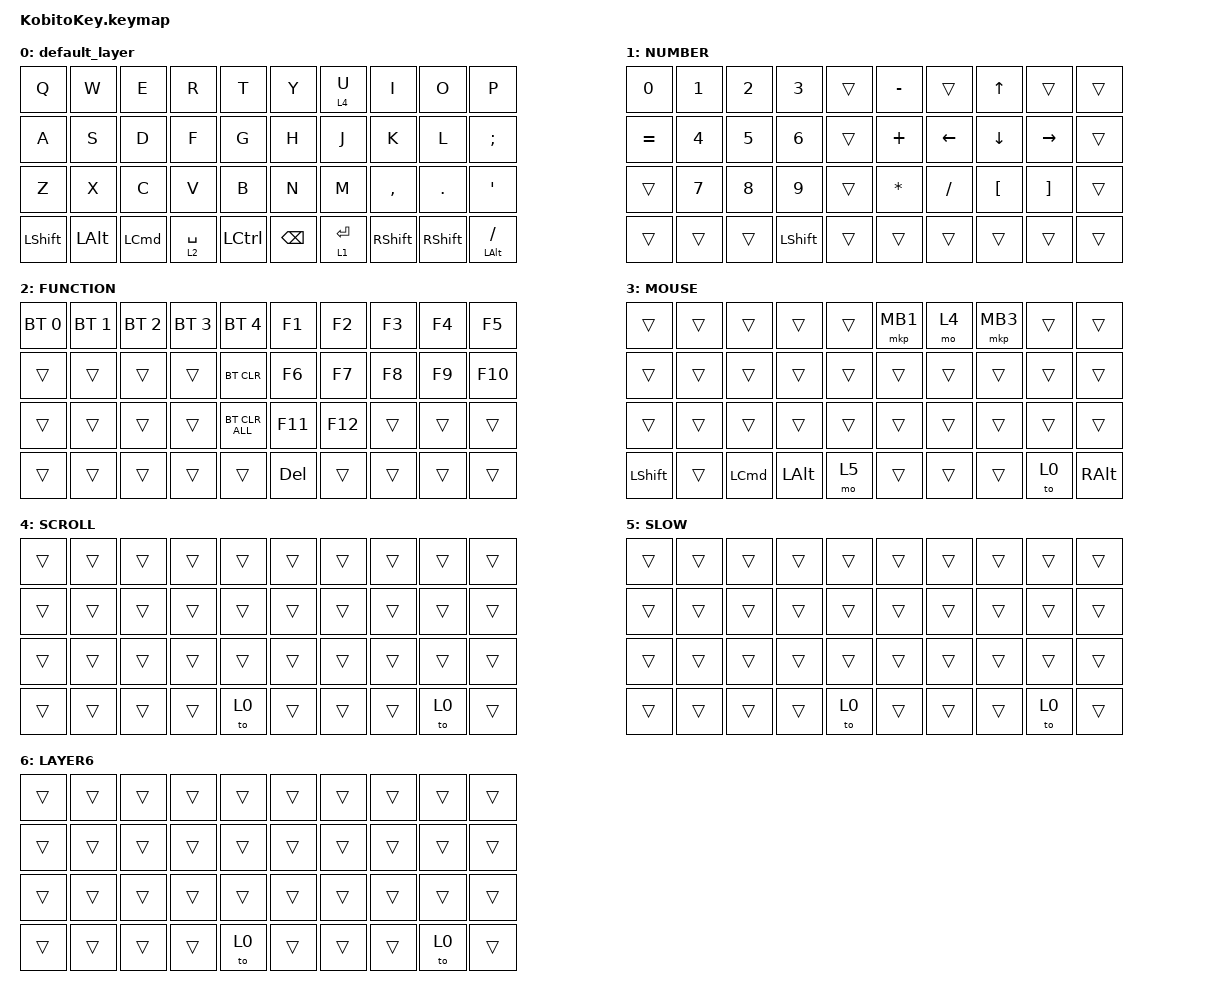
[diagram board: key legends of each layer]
#include <input/processors.dtsi>
#include <behaviors.dtsi>
#include <dt-bindings/zmk/bt.h>
#include <dt-bindings/zmk/keys.h>
#include <dt-bindings/zmk/pointing.h>

/ {
    behaviors {
        u_scroll: u_scroll {
            compatible = "zmk,behavior-hold-tap";
            #binding-cells = <2>;
            flavor = "balanced";
            tapping-term-ms = <170>;
            require-prior-idle-ms = <100>;
            bindings = <&mo>, <&kp>;
            display-name = "U Scroll";
        };
    };

    combos {
        compatible = "zmk,combos";

        combo_eisu {
            timeout-ms = <50>;
            key-positions = <12 13>;
            bindings = <&kp LANG2>;
        };

        combo_kana {
            timeout-ms = <50>;
            key-positions = <16 17>;
            bindings = <&kp LANG1>;
        };

        combo_esc {
            timeout-ms = <50>;
            key-positions = <0 1>;
            bindings = <&kp ESC>;
        };

        combo_tab {
            timeout-ms = <50>;
            key-positions = <10 11>;
            bindings = <&kp TAB>;
        };

        combo_del {
            timeout-ms = <50>;
            key-positions = <7 8>;
            layers = <0>;
            bindings = <&kp DEL>;
        };

        combo_rclick {
            timeout-ms = <50>;
            key-positions = <17 18>;
            layers = <0>;
            bindings = <&mkp MB2>;
        };
    };

    keymap {
        compatible = "zmk,keymap";

        default_layer {
            bindings = <
&kp Q      &kp W     &kp E     &kp R        &kp T      &kp Y     &u_scroll 4 U  &kp I      &kp O      &kp P
&kp A      &kp S     &kp D     &kp F        &kp G      &kp H     &kp J           &kp K      &kp L      &kp SEMI
&kp Z      &kp X     &kp C     &kp V        &kp B      &kp N     &kp M           &kp COMMA  &kp DOT    &kp APOS
&kp LSHFT  &kp LALT  &kp LCMD  &lt 2 SPACE  &kp LCTRL  &kp BSPC  &lt 1 ENTER     &kp RSHFT  &kp RSHFT  &mt LALT SLASH
            >;
        };

        layer1 {
            label = "NUMBER";
            bindings = <
&kp N0     &kp N1  &kp N2  &kp N3     &trans  &kp MINUS  &trans     &kp UP    &trans     &trans
&kp EQUAL  &kp N4  &kp N5  &kp N6     &trans  &kp PLUS   &kp LEFT   &kp DOWN  &kp RIGHT  &trans
&trans     &kp N7  &kp N8  &kp N9     &trans  &kp ASTRK  &kp SLASH  &kp LBKT  &kp RBKT   &trans
&trans     &trans  &trans  &kp LSHFT  &trans  &trans     &trans     &trans    &trans     &trans
            >;
        };

        layer2 {
            label = "FUNCTION";
            bindings = <
&bt BT_SEL 0  &bt BT_SEL 1  &bt BT_SEL 2  &bt BT_SEL 3  &bt BT_SEL 4    &kp F1   &kp F2   &kp F3  &kp F4  &kp F5
&trans        &trans        &trans        &trans        &bt BT_CLR      &kp F6   &kp F7   &kp F8  &kp F9  &kp F10
&trans        &trans        &trans        &trans        &bt BT_CLR_ALL  &kp F11  &kp F12  &trans  &trans  &trans
&trans        &trans        &trans        &trans        &trans          &kp DEL  &trans   &trans  &trans  &trans
            >;
        };

        layer3 {
    label = "MOUSE";
    bindings = <
&trans     &trans  &trans    &trans    &trans  &mkp MB1  &mo 4     &mkp MB3  &trans  &trans
&trans     &trans  &trans    &trans    &trans  &trans    &trans    &trans    &trans    &trans
&trans     &trans  &trans    &trans    &trans  &trans    &trans    &trans    &trans    &trans
&kp LSHFT  &trans  &kp LCMD  &kp LALT  &mo 5   &trans    &trans    &trans    &to 0     &kp RALT
            >;
};

        layer4 {
            label = "SCROLL";
            bindings = <
&trans  &trans  &trans  &trans  &trans  &trans  &trans  &trans  &trans  &trans
&trans  &trans  &trans  &trans  &trans  &trans  &trans  &trans  &trans  &trans
&trans  &trans  &trans  &trans  &trans  &trans  &trans  &trans  &trans  &trans
&trans  &trans  &trans  &trans  &to 0   &trans  &trans  &trans  &to 0   &trans
            >;
        };

        layer5 {
    label = "SLOW";
    bindings = <
&trans  &trans  &trans  &trans  &trans  &trans  &trans  &trans  &trans  &trans
&trans  &trans  &trans  &trans  &trans  &trans  &trans  &trans  &trans  &trans
&trans  &trans  &trans  &trans  &trans  &trans  &trans  &trans  &trans  &trans
&trans  &trans  &trans  &trans  &to 0   &trans  &trans  &trans  &to 0   &trans
            >;
};

        layer6 {
            label = "LAYER6";
            bindings = <
&trans  &trans  &trans  &trans  &trans  &trans  &trans  &trans  &trans  &trans
&trans  &trans  &trans  &trans  &trans  &trans  &trans  &trans  &trans  &trans
&trans  &trans  &trans  &trans  &trans  &trans  &trans  &trans  &trans  &trans
&trans  &trans  &trans  &trans  &to 0   &trans  &trans  &trans  &to 0   &trans
            >;
        };
    };
};
